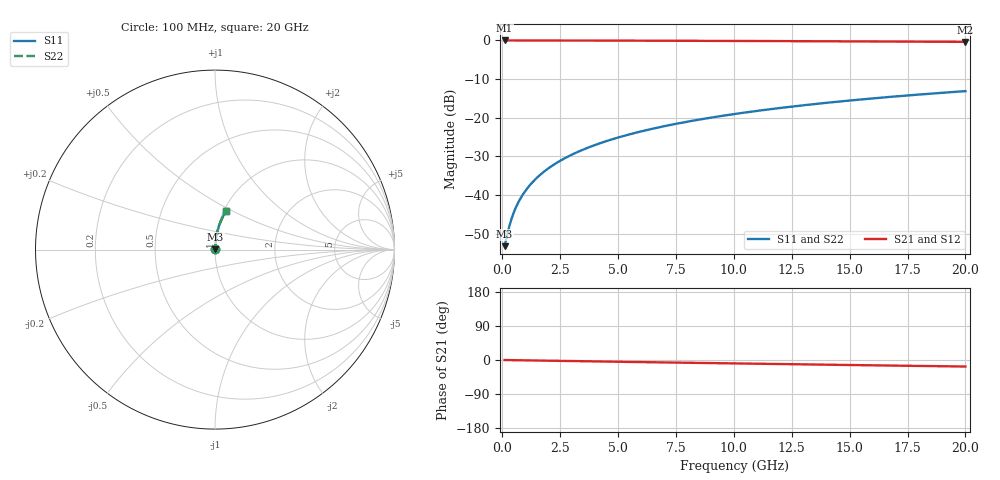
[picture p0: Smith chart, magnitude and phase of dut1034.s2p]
! Touchstone file exported from HFSS 2024.1.0
!  File:  C:/UserFiles/LocalFiles/RDL_TSV_Batchsim/temp_RDL_bottom_1034_1780051247.aedt
!  Generated:  06:43:42 PM May 29, 2026
!  Design:  RDL_bottom
!  Project:  temp_RDL_bottom_1034_1780051247
!  Setup:  Setup1
!  Solution:  Sweep
! Variables:
!  dtsv = 10.80580581um
!  hbump = 3um
!  htsv = 76.58um
!  ldown = 197.15um
!  lrdl = 100um
!  p = 40
!  p1 = 41.26um
!  rhole = 1um
!  t = 450um
!  tdown = 3.49um
!  trdl = 3.915915916um
!  wdown = 11.68um
!  wrdl = 20um
# GHz S MA R 50.000000
! Terminal data exported
! Port[1] = RDL1_T1
! Port[2] = RDL1_T2
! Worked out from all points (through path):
!   200 points, 100 MHz to 20 GHz, reference 50 ohm
!   highest |S21| = -0.02 dB at 100 MHz (marker M1); lowest = -0.4 dB at 20 GHz (marker M2)
!   group delay of S21, straight-line fit = 2.39 ps
!   lowest |S11| = -53.2 dB at 100 MHz (marker M3), VSWR 1.00, Z = 50.2 + j0.115 ohm
!   |S11| at or under -10 dB: start of sweep to end of sweep
!   |S22| runs from -53.2 to -13.1 dB; largest |S21 - S12| = 2e-15
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0.1  0.002189 31.7  0.9981 -0.1  0.9981 -0.1  0.002189 31.7
! Gamma 0 0 0 0
! Port Impedance 50 0 50 0
0.2  0.002969 50.6  0.9981 -0.2  0.9981 -0.2  0.002969 50.6
0.3  0.003928 60.7  0.9981 -0.3  0.9981 -0.3  0.003928 60.7
0.4  0.004952 66.7  0.998 -0.4  0.998 -0.4  0.004952 66.7
0.5  0.006004 70.5  0.998 -0.5  0.998 -0.5  0.006004 70.5
0.6  0.007068 73.2  0.9979 -0.6  0.9979 -0.6  0.007068 73.2
0.8  0.009214 76.7  0.9978 -0.8  0.9978 -0.8  0.009214 76.7
1.1  0.01246 79.7  0.9977 -1.0  0.9977 -1.0  0.01246 79.7
1.5  0.01682 81.8  0.9975 -1.4  0.9975 -1.4  0.01682 81.8
1.8  0.0201 82.8  0.9973 -1.7  0.9973 -1.7  0.0201 82.8
2.1  0.0234 83.4  0.9971 -2.0  0.9971 -2.0  0.0234 83.4
2.7  0.03001 84.2  0.9966 -2.5  0.9966 -2.5  0.03001 84.2
3.5  0.03885 84.6  0.9957 -3.3  0.9957 -3.3  0.03885 84.6
4.2  0.04662 84.6  0.9948 -3.9  0.9948 -3.9  0.04662 84.6
5  0.05552 84.5  0.9936 -4.6  0.9936 -4.6  0.05552 84.5
5.9  0.06556 84.1  0.9922 -5.4  0.9922 -5.4  0.06556 84.1
6.8  0.07562 83.7  0.9905 -6.2  0.9905 -6.2  0.07562 83.7
8.3  0.09242 82.9  0.9875 -7.6  0.9875 -7.6  0.09242 82.9
10.1  0.1126 81.7  0.9836 -9.1  0.9836 -9.1  0.1126 81.7
13.4  0.1494 79.3  0.9756 -11.9  0.9756 -11.9  0.1494 79.3
16.7  0.1856 76.7  0.9669 -14.6  0.9669 -14.6  0.1856 76.7
20  0.2209 74.1  0.9574 -17.3  0.9574 -17.3  0.2209 74.1
